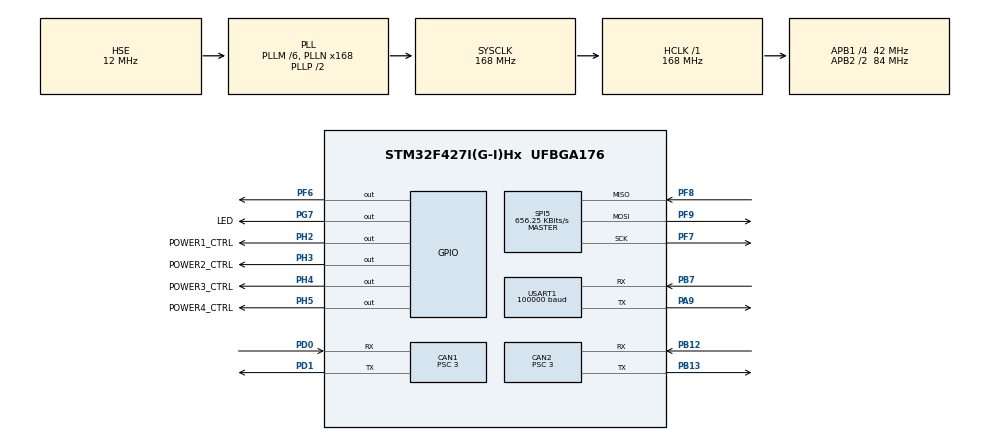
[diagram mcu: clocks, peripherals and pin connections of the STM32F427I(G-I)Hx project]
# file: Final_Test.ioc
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CAN1.BS1=CAN_BS1_9TQ
CAN1.BS2=CAN_BS2_4TQ
CAN1.CalculateBaudRate=1000000
CAN1.CalculateTimeBit=1000
CAN1.CalculateTimeQuantum=71.42857142857143
CAN1.Prescaler=3
CAN2.ABOM=ENABLE
CAN2.BS1=CAN_BS1_10TQ
CAN2.BS2=CAN_BS2_3TQ
CAN2.CalculateBaudRate=1000000
CAN2.CalculateTimeBit=1000
CAN2.CalculateTimeQuantum=71.42857142857143
CAN2.Prescaler=3
Dma.Request0=USART1_RX
Dma.USART1_RX.0.Direction=DMA_PERIPH_TO_MEMORY
Dma.USART1_RX.0.FIFOMode=DMA_FIFOMODE_DISABLE
Dma.USART1_RX.0.Instance=DMA2_Stream2
Dma.USART1_RX.0.MemDataAlignment=DMA_MDATAALIGN_BYTE
Dma.USART1_RX.0.MemInc=DMA_MINC_ENABLE
Dma.USART1_RX.0.Mode=DMA_CIRCULAR
Dma.USART1_RX.0.PeriphDataAlignment=DMA_PDATAALIGN_BYTE
Dma.USART1_RX.0.PeriphInc=DMA_PINC_DISABLE
Dma.USART1_RX.0.Priority=DMA_PRIORITY_VERY_HIGH
FREERTOS.Tasks01=Chassis,1,128,StartChassisTask,Default,NULL,Dynamic,NULL,NULL;Gimbal,3,128,StartGimbalTask,Default,NULL,Dynamic,NULL,NULL;RemoteControl,2,128,StartRcTask,Default,NULL,Dynamic,NULL,NULL
Mcu.Family=STM32F4
Mcu.Name=STM32F427I(G-I)Hx
Mcu.Package=UFBGA176
NVIC.CAN1_RX0_IRQn=true\:5\:0\:false\:false\:true\:true\:true\:true\:true
NVIC.CAN2_RX0_IRQn=true\:5\:0\:false\:false\:true\:true\:true\:true\:true
NVIC.CAN2_TX_IRQn=true\:5\:0\:false\:false\:true\:true\:true\:true\:true
NVIC.DMA2_Stream2_IRQn=true\:5\:0\:false\:false\:true\:true\:false\:true\:true
NVIC.PriorityGroup=NVIC_PRIORITYGROUP_4
NVIC.TIM7_IRQn=true\:15\:0\:false\:false\:true\:false\:false\:true\:true
NVIC.TimeBase=TIM7_IRQn
NVIC.TimeBaseIP=TIM7
NVIC.USART1_IRQn=true\:5\:0\:false\:false\:true\:true\:true\:true\:true
PA13.Mode=Serial_Wire
PA13.Signal=SYS_JTMS-SWDIO
PA14.Mode=Serial_Wire
PA14.Signal=SYS_JTCK-SWCLK
PA9.Mode=Asynchronous
PA9.Signal=USART1_TX
PB12.Mode=CAN_Activate
PB12.Signal=CAN2_RX
PB13.Mode=CAN_Activate
PB13.Signal=CAN2_TX
PB7.Mode=Asynchronous
PB7.Signal=USART1_RX
PD0.Mode=CAN_Activate
PD0.Signal=CAN1_RX
PD1.Mode=CAN_Activate
PD1.Signal=CAN1_TX
PF6.Signal=GPIO_Output
PF7.Mode=Full_Duplex_Master
PF7.Signal=SPI5_SCK
PF8.Mode=Full_Duplex_Master
PF8.Signal=SPI5_MISO
PF9.Mode=Full_Duplex_Master
PF9.Signal=SPI5_MOSI
PG7.GPIO_Label=LED
PG7.Signal=GPIO_Output
PH0/OSC_IN.Mode=HSE-External-Oscillator
PH0/OSC_IN.Signal=RCC_OSC_IN
PH1/OSC_OUT.Mode=HSE-External-Oscillator
PH1/OSC_OUT.Signal=RCC_OSC_OUT
PH2.GPIO_Label=POWER1_CTRL
PH2.Signal=GPIO_Output
PH3.GPIO_Label=POWER2_CTRL
PH3.Signal=GPIO_Output
PH4.GPIO_Label=POWER3_CTRL
PH4.Signal=GPIO_Output
PH5.GPIO_Label=POWER4_CTRL
PH5.Signal=GPIO_Output
ProjectManager.HeapSize=0x200
ProjectManager.StackSize=0x400
ProjectManager.TargetToolchain=CMake
RCC.48MHZClocksFreq_Value=84000000
RCC.AHBFreq_Value=168000000
RCC.APB1CLKDivider=RCC_HCLK_DIV4
RCC.APB1Freq_Value=42000000
RCC.APB1TimFreq_Value=84000000
RCC.APB2CLKDivider=RCC_HCLK_DIV2
RCC.APB2Freq_Value=84000000
RCC.APB2TimFreq_Value=168000000
RCC.CortexFreq_Value=168000000
RCC.HCLKFreq_Value=168000000
RCC.HSE_VALUE=12000000
RCC.HSI_VALUE=16000000
RCC.LSE_VALUE=32768
RCC.PLLM=6
RCC.PLLN=168
RCC.PLLSourceVirtual=RCC_PLLSOURCE_HSE
RCC.SYSCLKFreq_VALUE=168000000
RCC.SYSCLKSource=RCC_SYSCLKSOURCE_PLLCLK
RCC.VCOOutputFreq_Value=336000000
SPI5.BaudRatePrescaler=SPI_BAUDRATEPRESCALER_128
SPI5.CalculateBaudRate=656.25 KBits/s
SPI5.Direction=SPI_DIRECTION_2LINES
SPI5.Mode=SPI_MODE_MASTER
SPI5.VirtualType=VM_MASTER
USART1.BaudRate=100000
USART1.Parity=PARITY_EVEN
USART1.VirtualMode=VM_ASYNC
VP_FREERTOS_VS_CMSIS_V1.Mode=CMSIS_V1
VP_SYS_VS_tim7.Mode=TIM7
board=custom

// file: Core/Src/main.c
/* USER CODE BEGIN Header */
/**
  ******************************************************************************
  * @file           : main.c
  * @brief          : Main program body
  ******************************************************************************
  * @attention
  *
  * Copyright (c) 2025 STMicroelectronics.
  * All rights reserved.
  *
  * This software is licensed under terms that can be found in the LICENSE file
  * in the root directory of this software component.
  * If no LICENSE file comes with this software, it is provided AS-IS.
  *
  ******************************************************************************
  */
/* USER CODE END Header */
#include "main.h"
#include "cmsis_os.h"
#include "can.h"
#include "dma.h"
#include "spi.h"
#include "usart.h"
#include "gpio.h"

/* USER CODE BEGIN Includes */
#include "bsp_can.h"
#include "bsp_imu.h"
#include "bsp_uart.h"
#include "pid.h"
/* USER CODE END Includes */

/* USER CODE BEGIN PV */
int16_t Vx,Vy;
int16_t wheel_speed[4];
pid_struct_t motor_pid[7];
/* USER CODE END PV */

void SystemClock_Config(void);
void MX_FREERTOS_Init(void);

/* USER CODE BEGIN 0 */
void init_fault()
{
  while (1)
  {
    HAL_Delay(500);
    //HAL_GPIO_TogglePin(fault_GPIO_Port,fault_Pin);
  }
}
/* USER CODE END 0 */

int main(void)
{

  /* MCU Configuration--------------------------------------------------------*/

  /* Reset of all peripherals, Initializes the Flash interface and the Systick. */
  HAL_Init();

  /* Configure the system clock */
  SystemClock_Config();

  /* Initialize all configured peripherals */
  MX_GPIO_Init();
  MX_DMA_Init();
  MX_CAN1_Init();
  MX_CAN2_Init();
  MX_USART1_UART_Init();
  MX_SPI5_Init();
  /* USER CODE BEGIN 2 */
  can_user_init(&hcan2);
  can_user_init(&hcan1);//滤波器设置，开启CAN
  dbus_uart_init();
  mpu_device_init();
  init_quaternion();
  for (uint8_t i = 0; i < 4; i++)
  {
    pid_init(&motor_pid[i], 50, 6, 2, 0, 1000); //init pid parameter, kp=40, ki=3, kd=0, output limit = 30000
  }
  for (uint8_t i = 4; i < 6; i++)
  {
    pid_init(&motor_pid[i], 50, 6, 2, 0, 1000); //init pid parameter, kp=40, ki=3, kd=0, output limit = 30000
  }
  HAL_GPIO_WritePin(GPIOH, POWER1_CTRL_Pin|POWER2_CTRL_Pin|POWER3_CTRL_Pin|POWER4_CTRL_Pin, GPIO_PIN_SET); // switch on 24v power
  /* USER CODE END 2 */

  /* Call init function for freertos objects (in cmsis_os2.c) */
  MX_FREERTOS_Init();

  /* Start scheduler */
  osKernelStart();

  /* We should never get here as control is now taken by the scheduler */

  /* Infinite loop */
  while (1)
  {

  }
}

void SystemClock_Config(void)
{
  RCC_OscInitTypeDef RCC_OscInitStruct = {0};
  RCC_ClkInitTypeDef RCC_ClkInitStruct = {0};

  /** Configure the main internal regulator output voltage
  */
  __HAL_RCC_PWR_CLK_ENABLE();
  __HAL_PWR_VOLTAGESCALING_CONFIG(PWR_REGULATOR_VOLTAGE_SCALE1);

  /** Initializes the RCC Oscillators according to the specified parameters
  * in the RCC_OscInitTypeDef structure.
  */
  RCC_OscInitStruct.OscillatorType = RCC_OSCILLATORTYPE_HSE;
  RCC_OscInitStruct.HSEState = RCC_HSE_ON;
  RCC_OscInitStruct.PLL.PLLState = RCC_PLL_ON;
  RCC_OscInitStruct.PLL.PLLSource = RCC_PLLSOURCE_HSE;
  RCC_OscInitStruct.PLL.PLLM = 6;
  RCC_OscInitStruct.PLL.PLLN = 168;
  RCC_OscInitStruct.PLL.PLLP = RCC_PLLP_DIV2;
  RCC_OscInitStruct.PLL.PLLQ = 4;
  if (HAL_RCC_OscConfig(&RCC_OscInitStruct) != HAL_OK)
  {
    Error_Handler();
  }

  /** Initializes the CPU, AHB and APB buses clocks
  */
  RCC_ClkInitStruct.ClockType = RCC_CLOCKTYPE_HCLK|RCC_CLOCKTYPE_SYSCLK
                              |RCC_CLOCKTYPE_PCLK1|RCC_CLOCKTYPE_PCLK2;
  RCC_ClkInitStruct.SYSCLKSource = RCC_SYSCLKSOURCE_PLLCLK;
  RCC_ClkInitStruct.AHBCLKDivider = RCC_SYSCLK_DIV1;
  RCC_ClkInitStruct.APB1CLKDivider = RCC_HCLK_DIV4;
  RCC_ClkInitStruct.APB2CLKDivider = RCC_HCLK_DIV2;

  if (HAL_RCC_ClockConfig(&RCC_ClkInitStruct, FLASH_LATENCY_5) != HAL_OK)
  {
    Error_Handler();
  }
}

void HAL_TIM_PeriodElapsedCallback(TIM_HandleTypeDef *htim)
{
  if (htim->Instance == TIM7)
  {
    HAL_IncTick();
  }
}

void Error_Handler(void)
{
  __disable_irq();
  while (1)
  {
  }
}

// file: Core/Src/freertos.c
/* USER CODE BEGIN Header */
/**
  ******************************************************************************
  * File Name          : freertos.c
  * Description        : Code for freertos applications
  ******************************************************************************
  * @attention
  *
  * Copyright (c) 2025 STMicroelectronics.
  * All rights reserved.
  *
  * This software is licensed under terms that can be found in the LICENSE file
  * in the root directory of this software component.
  * If no LICENSE file comes with this software, it is provided AS-IS.
  *
  ******************************************************************************
  */
/* USER CODE END Header */

#include "FreeRTOS.h"
#include "task.h"
#include "main.h"
#include "cmsis_os.h"

/* USER CODE BEGIN Includes */
#include "bsp_can.h"
#include "bsp_imu.h"
#include "pid.h"
#include "bsp_uart.h"
/* USER CODE END Includes */

/* USER CODE BEGIN Variables */
//底盘电机变量
extern moto_info_t motor_info[MOTOR_MAX_NUM];
extern pid_struct_t motor_pid[7];
//遥控器变量
extern rc_info_t rc;

/* USER CODE END Variables */
osThreadId ChassisHandle;
osThreadId GimbalHandle;
osThreadId RemoteControlHandle;

void StartChassisTask(void const * argument);
void StartGimbalTask(void const * argument);
void StartRcTask(void const * argument);

void MX_FREERTOS_Init(void); /* (MISRA C 2004 rule 8.1) */

/* GetIdleTaskMemory prototype (linked to static allocation support) */
void vApplicationGetIdleTaskMemory( StaticTask_t **ppxIdleTaskTCBBuffer, StackType_t **ppxIdleTaskStackBuffer, uint32_t *pulIdleTaskStackSize );

/* USER CODE BEGIN GET_IDLE_TASK_MEMORY */
static StaticTask_t xIdleTaskTCBBuffer;
static StackType_t xIdleStack[configMINIMAL_STACK_SIZE];

void vApplicationGetIdleTaskMemory( StaticTask_t **ppxIdleTaskTCBBuffer, StackType_t **ppxIdleTaskStackBuffer, uint32_t *pulIdleTaskStackSize )
{
  *ppxIdleTaskTCBBuffer = &xIdleTaskTCBBuffer;
  *ppxIdleTaskStackBuffer = &xIdleStack[0];
  *pulIdleTaskStackSize = configMINIMAL_STACK_SIZE;
  /* place for user code */
}
/* USER CODE END GET_IDLE_TASK_MEMORY */

void MX_FREERTOS_Init(void) {

  /* Create the thread(s) */
  /* definition and creation of Chassis */
  osThreadDef(Chassis, StartChassisTask, osPriorityAboveNormal, 0, 128);
  ChassisHandle = osThreadCreate(osThread(Chassis), NULL);

  /* definition and creation of Gimbal */
  osThreadDef(Gimbal, StartGimbalTask, osPriorityRealtime, 0, 128);
  GimbalHandle = osThreadCreate(osThread(Gimbal), NULL);

  /* definition and creation of RemoteControl */
  osThreadDef(RemoteControl, StartRcTask, osPriorityHigh, 0, 128);
  RemoteControlHandle = osThreadCreate(osThread(RemoteControl), NULL);

}

void StartChassisTask(void const * argument)
{
  /* USER CODE BEGIN StartChassisTask */
  extern int16_t Vx,Vy;
  extern int16_t wheel_speed[4];

  /* Infinite loop */
  for(;;)
  {
    if (rc.sw1==2)//平移模式
    {
      Vx=rc.ch3;
      Vy=rc.ch4;

      wheel_speed[0] = -Vx - Vy ;
      wheel_speed[1] = Vx - Vy ;
      wheel_speed[2] = Vx + Vy ;
      wheel_speed[3] = -Vx + Vy;
      for (uint8_t i = 0; i < 4; i++)
      {
        motor_info[i].set_voltage = pid_calc(&motor_pid[i], wheel_speed[i], motor_info[i].rotor_speed);
      }
      /* send motor control message through can bus*/
      set_motor_voltage(hcan2,
                      0,
                      motor_info[0].set_voltage,
                      motor_info[1].set_voltage,
                      motor_info[2].set_voltage,
                      motor_info[3].set_voltage);
    }
    else if (rc.sw1==1)//旋转模式
    {
      Vx=rc.ch3;
      Vy=rc.ch4;

      wheel_speed[0] = -Vx - Vy ;
      wheel_speed[1] = Vx - Vy ;
      wheel_speed[2] = Vx + Vy ;
      wheel_speed[3] = -Vx + Vy;
      for (uint8_t i = 0; i < 4; i++)
      {
        motor_info[i].set_voltage = pid_calc(&motor_pid[i], wheel_speed[i], motor_info[i].rotor_speed);
      }
      /* send motor control message through can bus*/
      set_motor_voltage(hcan2,
                      0,
                      motor_info[0].set_voltage,
                      motor_info[1].set_voltage,
                      motor_info[2].set_voltage,
                      motor_info[3].set_voltage);
    }
    osDelay(1);
  }
  /* USER CODE END StartChassisTask */
}

void StartGimbalTask(void const * argument)
{
  /* USER CODE BEGIN StartGimbalTask */
  //yaw:2360R-6590L
  //pit:6778L-2605H
  for(;;)
  {
    mpu_get_data();
    imu_ahrs_update();
    imu_attitude_update();
    // for (uint8_t i = 4; i < 6; i++)
    // {
    //   motor_info[i].set_voltage = pid_calc(&motor_pid[i], target_angle, motor_info[i].rotor_angle);
    // }

    osDelay(1);
  }
  /* USER CODE END StartGimbalTask */
}

void StartRcTask(void const * argument)
{
  for(;;)
  {
    osDelay(1);
  }
}
